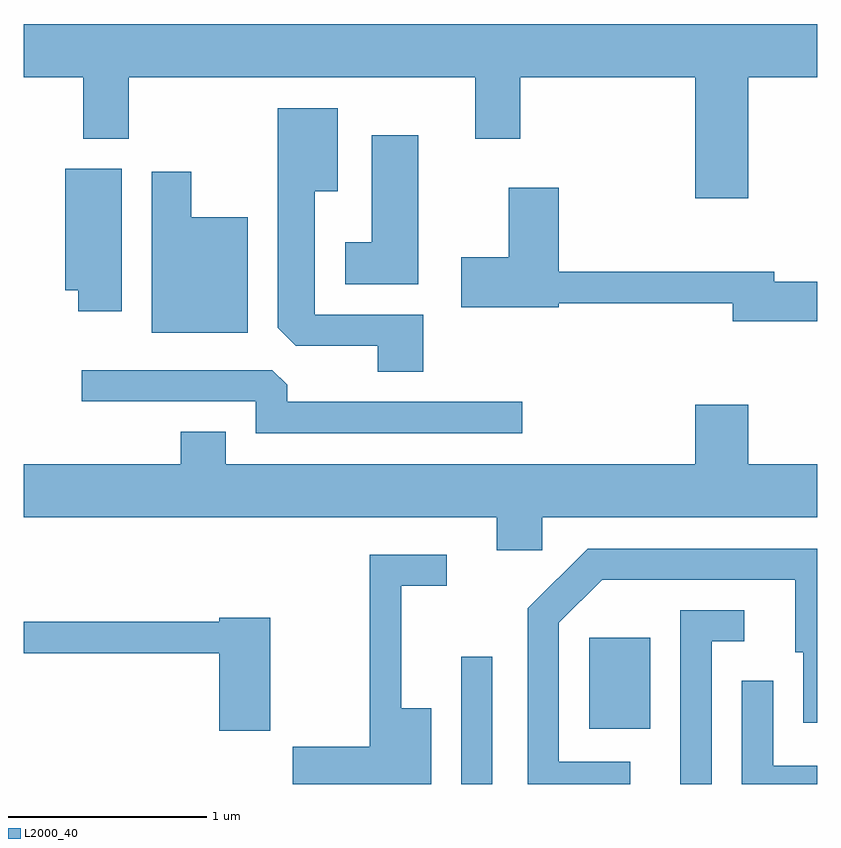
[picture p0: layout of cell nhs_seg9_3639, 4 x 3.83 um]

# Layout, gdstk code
import gdstk
lib = gdstk.Library(unit=1e-6, precision=1e-09)
def R(c, l, rs):  # rectangles x0, y0, x1, y1
    for r in rs: c.add(gdstk.rectangle(r[:2], r[2:], *l))
def P(c, l, *ps):  # polygons
    for p in ps: c.add(gdstk.Polygon(p, *l))
L2000_40 = (2000, 40)

nhs_seg9_3639 = lib.new_cell('nhs_seg9_3639')
R(nhs_seg9_3639, L2000_40, [(293.816,2030.432,293.974,2031.073), (294.461,2030.711,294.769,2031.169)])
P(nhs_seg9_3639, L2000_40, [(295.264,2033.996),(295.611,2033.996),(295.611,2034.264),(291.611,2034.264),(291.611,2033.996),(291.911,2033.996),(291.911,2033.686),(292.139,2033.686),(292.139,2033.996),(293.886,2033.996),(293.886,2033.686),(294.114,2033.686),(294.114,2033.996),(294.996,2033.996),(294.996,2033.386),(295.264,2033.386)],
  [(293.624,2032.799),(293.079,2032.799),(293.079,2033.421),(293.194,2033.421),(293.194,2033.839),(292.891,2033.839),(292.891,2032.732),(292.982,2032.641),(293.396,2032.641),(293.396,2032.511),(293.624,2032.511)],
  [(293.599,2033.704),(293.366,2033.704),(293.366,2033.164),(293.231,2033.164),(293.231,2032.951),(293.599,2032.951)],
  [(292.104,2033.534),(291.821,2033.534),(291.821,2032.921),(291.886,2032.921),(291.886,2032.816),(292.104,2032.816)],
  [(292.739,2033.289),(292.454,2033.289),(292.454,2033.519),(292.256,2033.519),(292.256,2032.706),(292.739,2032.706)],
  [(295.611,2032.964),(295.394,2032.964),(295.394,2033.014),(294.309,2033.014),(294.309,2033.439),(294.056,2033.439),(294.056,2033.089),(293.816,2033.089),(293.816,2032.836),(294.309,2032.836),(294.309,2032.856),(295.186,2032.856),(295.186,2032.766),(295.611,2032.766)],
  [(294.123,2032.359),(292.939,2032.359),(292.939,2032.444),(292.864,2032.519),(291.903,2032.519),(291.903,2032.361),(292.781,2032.361),(292.781,2032.201),(294.123,2032.201)],
  [(294.224,2031.776),(295.611,2031.776),(295.611,2032.044),(295.264,2032.044),(295.264,2032.344),(294.996,2032.344),(294.996,2032.044),(292.629,2032.044),(292.629,2032.209),(292.401,2032.209),(292.401,2032.044),(291.611,2032.044),(291.611,2031.776),(293.996,2031.776),(293.996,2031.611),(294.224,2031.611)],
  [(294.668,2030.544),(294.309,2030.544),(294.309,2031.244),(294.527,2031.461),(295.501,2031.461),(295.501,2031.096),(295.541,2031.096),(295.541,2030.741),(295.611,2030.741),(295.611,2031.619),(294.454,2031.619),(294.151,2031.317),(294.151,2030.432),(294.668,2030.432)],
  [(293.664,2030.814),(293.514,2030.814),(293.514,2031.431),(293.743,2031.431),(293.743,2031.589),(293.356,2031.589),(293.356,2030.619),(292.966,2030.619),(292.966,2030.432),(293.664,2030.432)],
  [(295.079,2031.151),(295.243,2031.151),(295.243,2031.309),(294.921,2031.309),(294.921,2030.432),(295.079,2030.432)],
  [(292.854,2031.269),(292.596,2031.269),(292.596,2031.249),(291.611,2031.249),(291.611,2031.091),(292.596,2031.091),(292.596,2030.701),(292.854,2030.701)],
  [(295.611,2030.524),(295.389,2030.524),(295.389,2030.953),(295.231,2030.953),(295.231,2030.432),(295.611,2030.432)])

lib.write_gds('nhs_seg9_3639.gds')
